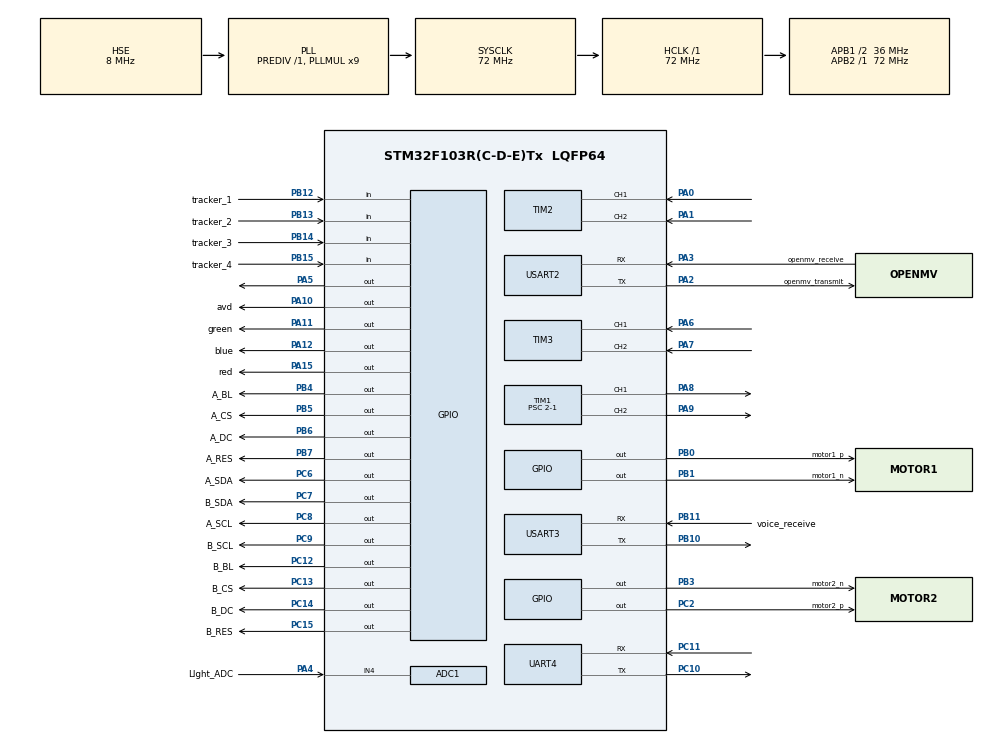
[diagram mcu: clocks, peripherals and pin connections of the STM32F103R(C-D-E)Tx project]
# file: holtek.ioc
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ADC1.Channel-1\#ChannelRegularConversion=ADC_CHANNEL_4
ADC1.NbrOfConversionFlag=1
ADC1.Rank-1\#ChannelRegularConversion=1
ADC1.SamplingTime-1\#ChannelRegularConversion=ADC_SAMPLETIME_1CYCLE_5
ADC1.master=1
Mcu.Family=STM32F1
Mcu.Name=STM32F103R(C-D-E)Tx
Mcu.Package=LQFP64
NVIC.ADC1_2_IRQn=true\:0\:0\:false\:false\:true\:true\:true
NVIC.PriorityGroup=NVIC_PRIORITYGROUP_4
NVIC.TIM1_BRK_IRQn=true\:0\:0\:false\:false\:true\:true\:true
NVIC.TIM1_CC_IRQn=true\:0\:0\:false\:false\:true\:true\:true
NVIC.TIM1_TRG_COM_IRQn=true\:0\:0\:false\:false\:true\:true\:true
NVIC.TIM1_UP_IRQn=true\:0\:0\:false\:false\:true\:true\:true
NVIC.TIM2_IRQn=true\:0\:0\:false\:false\:true\:true\:true
NVIC.TIM3_IRQn=true\:0\:0\:false\:false\:true\:true\:true
NVIC.TIM6_IRQn=true\:0\:0\:true\:false\:true\:true\:true
NVIC.UART4_IRQn=true\:0\:0\:false\:false\:false\:true\:false
NVIC.USART2_IRQn=true\:0\:0\:false\:false\:true\:true\:true
NVIC.USART3_IRQn=true\:0\:0\:false\:false\:true\:true\:true
PA0-WKUP.Signal=S_TIM2_CH1_ETR
PA1.Signal=S_TIM2_CH2
PA10.GPIO_Label=avd
PA10.Signal=GPIO_Output
PA11.GPIO_Label=green
PA11.PinState=GPIO_PIN_SET
PA11.Signal=GPIO_Output
PA12.GPIO_Label=blue
PA12.PinState=GPIO_PIN_SET
PA12.Signal=GPIO_Output
PA13.Mode=Serial_Wire
PA13.Signal=SYS_JTMS-SWDIO
PA14.Mode=Serial_Wire
PA14.Signal=SYS_JTCK-SWCLK
PA15.GPIO_Label=red
PA15.PinState=GPIO_PIN_SET
PA15.Signal=GPIO_Output
PA2.GPIO_Label=openmv_transmit
PA2.Mode=Asynchronous
PA2.Signal=USART2_TX
PA3.GPIO_Label=openmv_receive
PA3.Mode=Asynchronous
PA3.Signal=USART2_RX
PA4.GPIO_Label=LIght_ADC
PA4.Signal=ADCx_IN4
PA5.Signal=GPIO_Output
PA6.Signal=S_TIM3_CH1
PA7.Signal=S_TIM3_CH2
PA8.Signal=S_TIM1_CH1
PA9.Signal=S_TIM1_CH2
PB0.GPIO_Label=motor1_p
PB0.Signal=GPIO_Output
PB1.GPIO_Label=motor1_n
PB1.Signal=GPIO_Output
PB10.Mode=Asynchronous
PB10.Signal=USART3_TX
PB11.GPIO_Label=voice_receive
PB11.Mode=Asynchronous
PB11.Signal=USART3_RX
PB12.GPIO_Label=tracker_1
PB12.Signal=GPIO_Input
PB13.GPIO_Label=tracker_2
PB13.Signal=GPIO_Input
PB14.GPIO_Label=tracker_3
PB14.Signal=GPIO_Input
PB15.GPIO_Label=tracker_4
PB15.Signal=GPIO_Input
PB3.GPIO_Label=motor2_n
PB3.GPIO_Speed=GPIO_SPEED_FREQ_LOW
PB3.Signal=GPIO_Output
PB4.GPIO_Label=A_BL
PB4.Signal=GPIO_Output
PB5.GPIO_Label=A_CS
PB5.Signal=GPIO_Output
PB6.GPIO_Label=A_DC
PB6.Signal=GPIO_Output
PB7.GPIO_Label=A_RES
PB7.Signal=GPIO_Output
PC10.Mode=Asynchronous
PC10.Signal=UART4_TX
PC11.Mode=Asynchronous
PC11.Signal=UART4_RX
PC12.GPIO_Label=B_BL
PC12.Signal=GPIO_Output
PC13-TAMPER-RTC.GPIO_Label=B_CS
PC13-TAMPER-RTC.Signal=GPIO_Output
PC14-OSC32_IN.GPIO_Label=B_DC
PC14-OSC32_IN.Signal=GPIO_Output
PC15-OSC32_OUT.GPIO_Label=B_RES
PC15-OSC32_OUT.Signal=GPIO_Output
PC2.GPIO_Label=motor2_p
PC2.Signal=GPIO_Output
PC6.GPIO_Label=A_SDA
PC6.Signal=GPIO_Output
PC7.GPIO_Label=B_SDA
PC7.Signal=GPIO_Output
PC8.GPIO_Label=A_SCL
PC8.Signal=GPIO_Output
PC9.GPIO_Label=B_SCL
PC9.Signal=GPIO_Output
PD0-OSC_IN.Mode=HSE-External-Oscillator
PD0-OSC_IN.Signal=RCC_OSC_IN
PD1-OSC_OUT.Mode=HSE-External-Oscillator
PD1-OSC_OUT.Signal=RCC_OSC_OUT
ProjectManager.HeapSize=0x200
ProjectManager.StackSize=0x400
ProjectManager.TargetToolchain=SW4STM32
RCC.ADCPresc=RCC_ADCPCLK2_DIV6
RCC.AHBFreq_Value=72000000
RCC.APB1CLKDivider=RCC_HCLK_DIV2
RCC.APB1Freq_Value=36000000
RCC.APB1TimFreq_Value=72000000
RCC.APB2Freq_Value=72000000
RCC.APB2TimFreq_Value=72000000
RCC.HCLKFreq_Value=72000000
RCC.PLLMUL=RCC_PLL_MUL9
RCC.PLLSourceVirtual=RCC_PLLSOURCE_HSE
RCC.SYSCLKFreq_VALUE=72000000
RCC.SYSCLKSource=RCC_SYSCLKSOURCE_PLLCLK
RCC.USBFreq_Value=72000000
SH.ADCx_IN4.0=ADC1_IN4,IN4
SH.S_TIM1_CH1.0=TIM1_CH1,PWM Generation1 CH1
SH.S_TIM1_CH2.0=TIM1_CH2,PWM Generation2 CH2
SH.S_TIM2_CH1_ETR.0=TIM2_CH1,Encoder_Interface
SH.S_TIM2_CH2.0=TIM2_CH2,Encoder_Interface
SH.S_TIM3_CH1.0=TIM3_CH1,Encoder_Interface
SH.S_TIM3_CH2.0=TIM3_CH2,Encoder_Interface
TIM1.Channel-PWM\ Generation1\ CH1=TIM_CHANNEL_1
TIM1.Channel-PWM\ Generation2\ CH2=TIM_CHANNEL_2
TIM1.Period=7200-1
TIM1.Prescaler=2-1
TIM2.EncoderMode=TIM_ENCODERMODE_TI12
TIM3.EncoderMode=TIM_ENCODERMODE_TI12
TIM6.Period=7200-1
TIM6.Prescaler=10-1
UART4.VirtualMode=Asynchronous
USART2.VirtualMode=VM_ASYNC
USART3.VirtualMode=VM_ASYNC
VP_TIM1_VS_ClockSourceINT.Mode=Internal
VP_TIM6_VS_ClockSourceINT.Mode=Enable_Timer
board=custom

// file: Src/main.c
/* USER CODE BEGIN Header */
/**
  ******************************************************************************
  * @file           : main.c
  * @brief          : Main program body
  ******************************************************************************
  * @attention
  *
  * <h2><center>&copy; Copyright (c) 2021 STMicroelectronics.
  * All rights reserved.</center></h2>
  *
  * This software component is licensed by ST under BSD 3-Clause license,
  * the "License"; You may not use this file except in compliance with the
  * License. You may obtain a copy of the License at:
  *                        opensource.org/licenses/BSD-3-Clause
  *
  ******************************************************************************
  */
/* USER CODE END Header */
#include "main.h"
#include "adc.h"
#include "tim.h"
#include "usart.h"
#include "gpio.h"

/* USER CODE BEGIN Includes */
#include "pid_.h"
#include <stdlib.h>
#include <timer_it.h>
#include <bsp_delay.h>
#include <motor_control.h>
#include <retarget.h>
#include <oledfont.h>
#include <tracker.h>
#include "bsp_uart.h"
#include"led.h"
#include "my_led.h"
#include "retarget.h"
/* USER CODE END Includes */

void SystemClock_Config(void);

int main(void) {

    /* MCU Configuration--------------------------------------------------------*/

    /* Reset of all peripherals, Initializes the Flash interface and the Systick. */
    HAL_Init();

    /* Configure the system clock */
    SystemClock_Config();

    /* Initialize all configured peripherals */
    MX_GPIO_Init();
    MX_TIM1_Init();
    MX_TIM2_Init();
    MX_TIM3_Init();
    MX_TIM6_Init();
    MX_USART2_UART_Init();
    MX_USART3_UART_Init();
    MX_ADC1_Init();
    MX_UART4_Init();
    /* USER CODE BEGIN 2 */
    Global_Init();
    Screen_Display();
    RetargetInit(&huart2);
    //TODO:上场运行时需要开启下面的函数
//    start_pro();
    //TODO 比赛前记得开启！切记！！！

    /* USER CODE END 2 */

    /* Infinite loop */
    /* USER CODE BEGIN WHILE */
    while (1) {
        UART_global_handler();
        /* USER CODE END WHILE */
    }
}

void SystemClock_Config(void) {
    RCC_OscInitTypeDef RCC_OscInitStruct = {0};
    RCC_ClkInitTypeDef RCC_ClkInitStruct = {0};
    RCC_PeriphCLKInitTypeDef PeriphClkInit = {0};

    /** Initializes the RCC Oscillators according to the specified parameters
    * in the RCC_OscInitTypeDef structure.
    */
    RCC_OscInitStruct.OscillatorType = RCC_OSCILLATORTYPE_HSE;
    RCC_OscInitStruct.HSEState = RCC_HSE_ON;
    RCC_OscInitStruct.HSEPredivValue = RCC_HSE_PREDIV_DIV1;
    RCC_OscInitStruct.HSIState = RCC_HSI_ON;
    RCC_OscInitStruct.PLL.PLLState = RCC_PLL_ON;
    RCC_OscInitStruct.PLL.PLLSource = RCC_PLLSOURCE_HSE;
    RCC_OscInitStruct.PLL.PLLMUL = RCC_PLL_MUL9;
    if (HAL_RCC_OscConfig(&RCC_OscInitStruct) != HAL_OK) {
        Error_Handler();
    }
    /** Initializes the CPU, AHB and APB buses clocks
    */
    RCC_ClkInitStruct.ClockType = RCC_CLOCKTYPE_HCLK | RCC_CLOCKTYPE_SYSCLK
                                  | RCC_CLOCKTYPE_PCLK1 | RCC_CLOCKTYPE_PCLK2;
    RCC_ClkInitStruct.SYSCLKSource = RCC_SYSCLKSOURCE_PLLCLK;
    RCC_ClkInitStruct.AHBCLKDivider = RCC_SYSCLK_DIV1;
    RCC_ClkInitStruct.APB1CLKDivider = RCC_HCLK_DIV2;
    RCC_ClkInitStruct.APB2CLKDivider = RCC_HCLK_DIV1;

    if (HAL_RCC_ClockConfig(&RCC_ClkInitStruct, FLASH_LATENCY_2) != HAL_OK) {
        Error_Handler();
    }
    PeriphClkInit.PeriphClockSelection = RCC_PERIPHCLK_ADC;
    PeriphClkInit.AdcClockSelection = RCC_ADCPCLK2_DIV6;
    if (HAL_RCCEx_PeriphCLKConfig(&PeriphClkInit) != HAL_OK) {
        Error_Handler();
    }
}

/* USER CODE BEGIN 4 */
void Global_Init(void) {
    delay_init();
    RetargetInit(&huart2);
    Led_Control(1, 1, 1);//白光
    Init_UARTS();
    Init_TIMS();
    Lcd_Init(1);
    Lcd_Init(2);
    Global_Pid_Init();
    speed_set(0, 0);
    tracker_set(false);
    set_avd(false);
    LCD_Clear(1, WHITE);
    LCD_Clear(2, WHITE);
    delay_ms(500);
    Led_Control(1, 0, 0);
    delay_ms(1000);
}

void Screen_Display(void) {
#ifdef old_mode
#define Start_x 16
#define Start_y 0
#define Delta_x 32
#define Delta_y 32
    LCD_ShowMyChinese(1, 0, 16, 0, holtek, 32, 32, BROWN);
    LCD_ShowMyChinese(1, 1, Start_x + Delta_x, 0, holtek, 32, 32, BRRED);
    LCD_ShowMyChinese(1, 2, Start_x + 2 * Delta_x, 0, holtek, 32, 32, GRAY);
    LCD_ShowMyChinese(2, 0, 16, 0, holtek, 32, 32, BROWN);
    LCD_ShowMyChinese(2, 1, Start_x + Delta_x, 0, holtek, 32, 32, BRRED);
    LCD_ShowMyChinese(2, 2, Start_x + 2 * Delta_x, 0, holtek, 32, 32, GRAY);
    LCD_ShowMyPicture(1, 0, Delta_y, gImage_face_code, 64, 64);
    LCD_ShowMyPicture(2, 0, Delta_y, gImage_face_code, 64, 64);
#endif
    LCD_Show_Expressions(3);
}
/* USER CODE END 4 */

void Error_Handler(void) {
}

/************************ (C) COPYRIGHT STMicroelectronics *****END OF FILE****/
